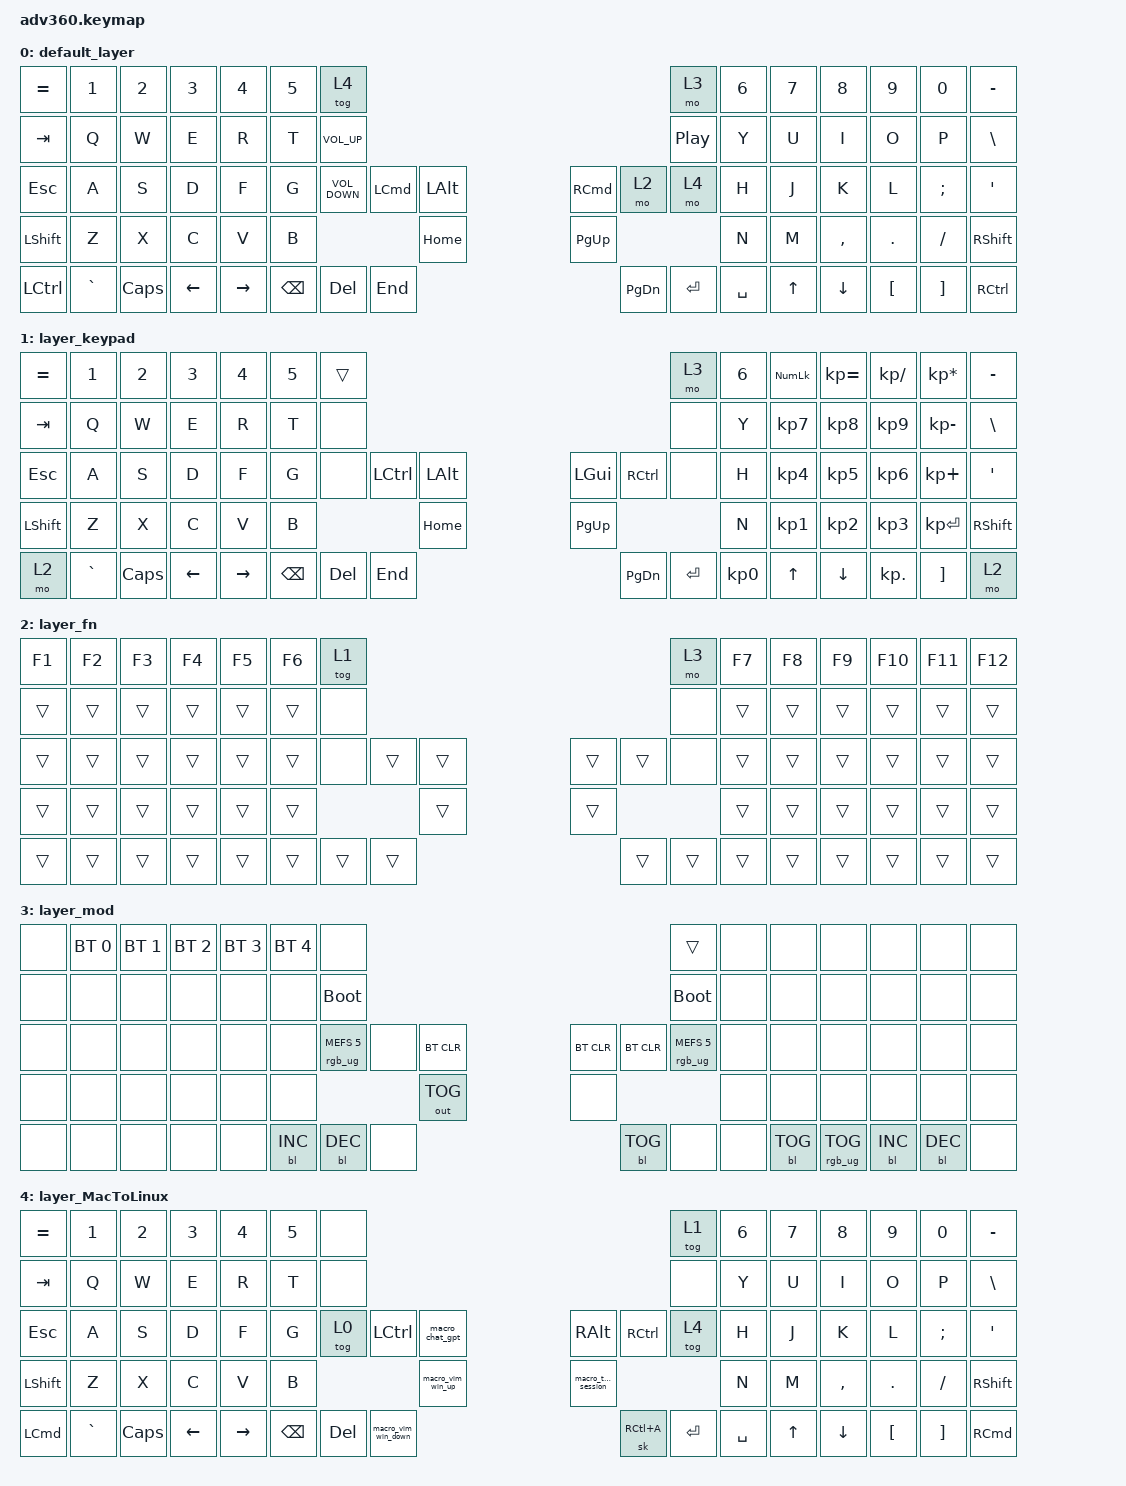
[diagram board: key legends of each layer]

/*
 * Copyright (c) 2020 The ZMK Contributors
 *
 * SPDX-License-Identifier: MIT
 */


/* THIS FILE WAS GENERATED!
 *
 * This file was generated automatically. You may or may not want to
 * edit it directly.
 */

#include <behaviors.dtsi>
#include <dt-bindings/zmk/keys.h>
#include <dt-bindings/zmk/bt.h>
#include <dt-bindings/zmk/rgb.h>
#include <dt-bindings/zmk/outputs.h>
#include <dt-bindings/zmk/backlight.h>

/ {
  behaviors {
    #include "macros.dtsi"

    hm: homerow_mods {
        compatible = "zmk,behavior-hold-tap";
        label = "HOMEROW_MODS";
        #binding-cells = <2>;
        tapping-term-ms = <200>;
        quick_tap_ms = <175>;
        flavor = "tap-preferred";
        bindings = <&kp>, <&kp>;
    };
  };

    keymap {
        compatible = "zmk,keymap";


        default_layer {
            bindings = <
 &kp EQUAL     &kp N1    &kp N2    &kp N3     &kp N4  &kp N5                       &tog 4                                                                                       &mo 3  &kp N6  &kp N7     &kp N8    &kp N9    &kp N0  &kp MINUS
   &kp TAB      &kp Q     &kp W     &kp E      &kp R   &kp T                 &kp C_VOL_UP                                                                            &kp C_PLAY_PAUSE   &kp Y   &kp U      &kp I     &kp O     &kp P   &kp BSLH
   &kp ESC      &kp A     &kp S     &kp D      &kp F   &kp G            &kp C_VOLUME_DOWN  &kp LEFT_COMMAND  &kp LALT                  &kp RIGHT_COMMAND      &mo 2             &mo 4   &kp H   &kp J      &kp K     &kp L  &kp SEMI    &kp SQT
 &kp LSHFT      &kp Z     &kp X     &kp C      &kp V   &kp B                                                 &kp HOME                          &kp PG_UP                                &kp N   &kp M  &kp COMMA   &kp DOT  &kp FSLH  &kp RSHFT
 &kp LCTRL  &kp GRAVE  &kp CAPS  &kp LEFT  &kp RIGHT                             &kp BSPC           &kp DEL   &kp END                          &kp PG_DN  &kp ENTER         &kp SPACE          &kp UP   &kp DOWN  &kp LBKT  &kp RBKT  &kp RCTRL
            >;
        };

        layer_keypad {
            bindings = <
 &kp EQUAL     &kp N1    &kp N2    &kp N3     &kp N4  &kp N5              &trans                                                                 &mo 3  &kp N6  &kp KP_NUM  &kp KP_EQUAL  &kp KP_DIVIDE  &kp KP_MULTIPLY  &kp MINUS
   &kp TAB      &kp Q     &kp W     &kp E      &kp R   &kp T               &none                                                                 &none   &kp Y   &kp KP_N7     &kp KP_N8      &kp KP_N9     &kp KP_MINUS   &kp BSLH
   &kp ESC      &kp A     &kp S     &kp D      &kp F   &kp G               &none  &kp LCTRL  &kp LALT                   &kp LGUI  &kp RCTRL      &none   &kp H   &kp KP_N4     &kp KP_N5      &kp KP_N6      &kp KP_PLUS    &kp SQT
 &kp LSHFT      &kp Z     &kp X     &kp C      &kp V   &kp B                                 &kp HOME                  &kp PG_UP                         &kp N   &kp KP_N1     &kp KP_N2      &kp KP_N3     &kp KP_ENTER  &kp RSHFT
     &mo 2  &kp GRAVE  &kp CAPS  &kp LEFT  &kp RIGHT                    &kp BSPC    &kp DEL   &kp END                  &kp PG_DN  &kp ENTER  &kp KP_N0              &kp UP      &kp DOWN     &kp KP_DOT         &kp RBKT      &mo 2
            >;
        };

        layer_fn {
            bindings = <
 &kp F1  &kp F2  &kp F3  &kp F4  &kp F5  &kp F6            &tog 1                                                   &mo 3  &kp F7  &kp F8  &kp F9  &kp F10  &kp F11  &kp F12
 &trans  &trans  &trans  &trans  &trans  &trans             &none                                                   &none  &trans  &trans  &trans   &trans   &trans   &trans
 &trans  &trans  &trans  &trans  &trans  &trans             &none  &trans  &trans                  &trans  &trans   &none  &trans  &trans  &trans   &trans   &trans   &trans
 &trans  &trans  &trans  &trans  &trans  &trans                            &trans                  &trans                  &trans  &trans  &trans   &trans   &trans   &trans
 &trans  &trans  &trans  &trans  &trans                    &trans  &trans  &trans                  &trans  &trans  &trans          &trans  &trans   &trans   &trans   &trans
            >;
        };

        layer_mod {
            bindings = <
  &none  &bt BT_SEL 0  &bt BT_SEL 1  &bt BT_SEL 2  &bt BT_SEL 3  &bt BT_SEL 4                             &none                                                                                    &trans   &none       &none            &none       &none       &none   &none
  &none         &none         &none         &none         &none         &none                       &bootloader                                                                               &bootloader   &none       &none            &none       &none       &none   &none
  &none         &none         &none         &none         &none         &none            &rgb_ug RGB_MEFS_CMD 5       &none    &bt BT_CLR                  &bt BT_CLR  &bt BT_CLR  &rgb_ug RGB_MEFS_CMD 5   &none       &none            &none       &none       &none   &none
  &none         &none         &none         &none         &none         &none                                                &out OUT_TOG                       &none                                       &none       &none            &none       &none       &none   &none
  &none         &none         &none         &none         &none                                      &bl BL_INC  &bl BL_DEC         &none                  &bl BL_TOG       &none                   &none          &bl BL_TOG  &rgb_ug RGB_TOG  &bl BL_INC  &bl BL_DEC   &none
            >;
        };

        layer_MacToLinux {
            bindings = <
        &kp EQUAL     &kp N1    &kp N2    &kp N3     &kp N4  &kp N5               &none                                                                                                    &tog 1  &kp N6  &kp N7     &kp N8            &kp N9             &kp N0          &kp MINUS
          &kp TAB      &kp Q     &kp W     &kp E      &kp R   &kp T               &none                                                                                                     &none   &kp Y   &kp U      &kp I             &kp O              &kp P           &kp BSLH
          &kp ESC      &kp A     &kp S     &kp D      &kp F   &kp G              &tog 0  &kp LEFT_CONTROL      &macro_chat_gpt                        &kp RIGHT_ALT  &kp RIGHT_CONTROL     &tog 4   &kp H   &kp J      &kp K             &kp L           &kp SEMI            &kp SQT
   &kp LEFT_SHIFT      &kp Z     &kp X     &kp C      &kp V   &kp B                                          &macro_vim_win_up                  &macro_tmux_session                                 &kp N   &kp M  &kp COMMA        &kp PERIOD           &kp FSLH    &kp RIGHT_SHIFT
 &kp LEFT_COMMAND  &kp GRAVE  &kp CAPS  &kp LEFT  &kp RIGHT                    &kp BSPC           &kp DEL  &macro_vim_win_down                            &sk RC(A)          &kp ENTER  &kp SPACE          &kp UP   &kp DOWN  &kp LEFT_BRACKET  &kp RIGHT_BRACKET  &kp RIGHT_COMMAND
            >;
        };

    };
};
